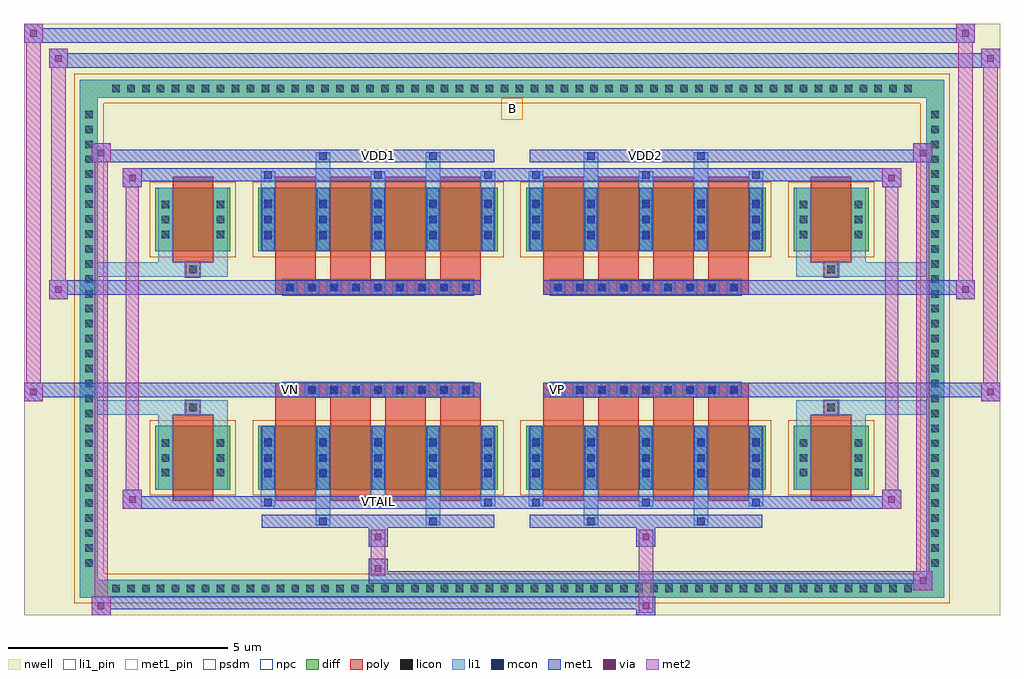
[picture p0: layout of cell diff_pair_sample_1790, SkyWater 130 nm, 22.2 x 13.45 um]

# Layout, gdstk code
import gdstk
lib = gdstk.Library(unit=1e-6, precision=5e-09)
def R(c, l, rs):  # rectangles x0, y0, x1, y1
    for r in rs: c.add(gdstk.rectangle(r[:2], r[2:], *l))
def A(c, l, x, y, w, h, nx, ny, dx, dy):  # array of equal rectangles
    R(c, l, [(x+i*dx, y+j*dy, x+i*dx+w, y+j*dy+h) for i in range(nx) for j in range(ny)])
def P(c, l, *ps):  # polygons
    for p in ps: c.add(gdstk.Polygon(p, *l))
nwell = (64, 20)
diff = (65, 20)
poly = (66, 20)
licon = (66, 44)
li1_pin = (67, 16)
li1 = (67, 20)
mcon = (67, 44)
met1_pin = (68, 16)
met1 = (68, 20)
via = (68, 44)
met2 = (69, 20)
psdm = (94, 20)
npc = (95, 20)

diff_pair_sample_1790 = lib.new_cell('diff_pair_sample_1790')
R(diff_pair_sample_1790, nwell, [(-11.1,-6.29,11.1,7.16), (-8.42,-4.48,-0.01,-0.8), (0.01,-4.48,8.42,-0.8), (-8.42,0.8,-0.01,4.48), (0.01,0.8,8.42,4.48)])
A(diff_pair_sample_1790, diff, -9.215, -5.89, 0.41, 0.41, 54, 2, 0.34, 11.37)
A(diff_pair_sample_1790, diff, -9.83, -5.305, 0.41, 0.41, 1, 31, 0, 0.34)
A(diff_pair_sample_1790, diff, 9.42, -5.305, 0.41, 0.41, 1, 31, 0, 0.34)
R(diff_pair_sample_1790, diff, [(-9.215,-5.89,9.215,-5.48), (-9.83,-5.305,-9.42,5.305), (9.42,-5.305,9.83,5.305), (-8.11,-3.435,-6.41,-1.985), (-5.77,-3.435,-0.32,-1.985), (0.32,-3.435,5.77,-1.985), (6.41,-3.435,8.11,-1.985), (-8.11,1.985,-6.41,3.435), (-5.77,1.985,-0.32,3.435), (0.32,1.985,5.77,3.435), (6.41,1.985,8.11,3.435), (-9.215,5.48,9.215,5.89)])
P(diff_pair_sample_1790, diff, [(9.83,5.89),(-9.83,5.89),(-9.83,-5.48),(-9.42,-5.48),(-9.42,5.48),(9.42,5.48),(9.42,-5.48),(-9.42,-5.48),(-9.83,-5.48),(-9.83,-5.89),(9.83,-5.89)])
A(diff_pair_sample_1790, poly, -5.38, -3.685, 0.92, 1.95, 4, 2, 1.25, 5.42)
A(diff_pair_sample_1790, poly, 0.71, -3.685, 0.92, 1.95, 4, 2, 1.25, 5.42)
A(diff_pair_sample_1790, poly, -5.38, -1.735, 0.92, 0.405, 4, 2, 1.25, 3.065)
A(diff_pair_sample_1790, poly, 0.71, -1.735, 0.92, 0.405, 4, 2, 1.25, 3.065)
A(diff_pair_sample_1790, poly, -5.21, -1.33, 0.33, 0.33, 9, 2, 0.5, 2.33)
A(diff_pair_sample_1790, poly, 0.88, -1.33, 0.33, 0.33, 9, 2, 0.5, 2.33)
R(diff_pair_sample_1790, poly, [(-7.72,-3.685,-6.8,-1.735), (6.8,-3.685,7.72,-1.735), (-7.425,-1.735,-7.095,-1.405), (-7.425,-1.735,-7.095,-1.405), (7.095,-1.735,7.425,-1.405), (7.095,-1.735,7.425,-1.405), (-5.38,-1.33,-0.71,-1), (0.71,-1.33,5.38,-1), (-5.38,1,-0.71,1.33), (0.71,1,5.38,1.33), (-7.425,1.405,-7.095,1.735), (-7.425,1.405,-7.095,1.735), (7.095,1.405,7.425,1.735), (7.095,1.405,7.425,1.735), (-7.72,1.735,-6.8,3.685), (6.8,1.735,7.72,3.685)])
A(diff_pair_sample_1790, licon, -9.095, -5.77, 0.17, 0.17, 54, 2, 0.34, 11.37)
A(diff_pair_sample_1790, licon, -9.71, -5.185, 0.17, 0.17, 1, 31, 0, 0.34)
A(diff_pair_sample_1790, licon, 9.54, -5.185, 0.17, 0.17, 1, 31, 0, 0.34)
A(diff_pair_sample_1790, licon, -7.97, -3.135, 0.17, 0.17, 1, 3, 0, 0.34)
A(diff_pair_sample_1790, licon, -6.72, -3.135, 0.17, 0.17, 1, 3, 0, 0.34)
A(diff_pair_sample_1790, licon, -5.63, -3.135, 0.17, 0.17, 5, 3, 1.25, 0.34)
A(diff_pair_sample_1790, licon, 0.46, -3.135, 0.17, 0.17, 5, 3, 1.25, 0.34)
A(diff_pair_sample_1790, licon, 6.55, -3.135, 0.17, 0.17, 1, 3, 0, 0.34)
A(diff_pair_sample_1790, licon, 7.8, -3.135, 0.17, 0.17, 1, 3, 0, 0.34)
A(diff_pair_sample_1790, licon, -5.13, -1.25, 0.17, 0.17, 9, 2, 0.5, 2.33)
A(diff_pair_sample_1790, licon, 0.96, -1.25, 0.17, 0.17, 9, 2, 0.5, 2.33)
A(diff_pair_sample_1790, licon, -7.97, 2.285, 0.17, 0.17, 1, 3, 0, 0.34)
A(diff_pair_sample_1790, licon, -6.72, 2.285, 0.17, 0.17, 1, 3, 0, 0.34)
A(diff_pair_sample_1790, licon, -5.63, 2.285, 0.17, 0.17, 5, 3, 1.25, 0.34)
A(diff_pair_sample_1790, licon, 0.46, 2.285, 0.17, 0.17, 5, 3, 1.25, 0.34)
A(diff_pair_sample_1790, licon, 6.55, 2.285, 0.17, 0.17, 1, 3, 0, 0.34)
A(diff_pair_sample_1790, licon, 7.8, 2.285, 0.17, 0.17, 1, 3, 0, 0.34)
R(diff_pair_sample_1790, licon, [(-7.345,-1.655,-7.175,-1.485), (7.175,-1.655,7.345,-1.485), (-7.345,1.485,-7.175,1.655), (7.175,1.485,7.345,1.655)])
R(diff_pair_sample_1790, li1_pin, [(-0.25,4.98,0.25,5.48)])
A(diff_pair_sample_1790, li1, -9.175, -5.85, 0.33, 0.33, 54, 2, 0.34, 11.37)
A(diff_pair_sample_1790, li1, -9.79, -5.265, 0.33, 0.33, 1, 31, 0, 0.34)
A(diff_pair_sample_1790, li1, 9.46, -5.265, 0.33, 0.33, 1, 31, 0, 0.34)
A(diff_pair_sample_1790, li1, -5.71, -3.81, 0.33, 0.375, 3, 2, 2.5, 7.245)
A(diff_pair_sample_1790, li1, -5.63, -3.81, 0.17, 0.17, 3, 2, 2.5, 7.45)
A(diff_pair_sample_1790, li1, 0.38, -3.81, 0.33, 0.375, 3, 2, 2.5, 7.245)
A(diff_pair_sample_1790, li1, 0.46, -3.81, 0.17, 0.17, 3, 2, 2.5, 7.45)
A(diff_pair_sample_1790, li1, -5.71, -3.435, 0.33, 1.45, 5, 2, 1.25, 5.42)
A(diff_pair_sample_1790, li1, 0.38, -3.435, 0.33, 1.45, 5, 2, 1.25, 5.42)
A(diff_pair_sample_1790, li1, -8.05, -3.215, 0.33, 0.33, 1, 3, 0, 0.34)
A(diff_pair_sample_1790, li1, -6.8, -3.215, 0.33, 0.33, 1, 3, 0, 0.34)
A(diff_pair_sample_1790, li1, -5.71, -3.215, 0.33, 0.33, 5, 3, 1.25, 0.34)
A(diff_pair_sample_1790, li1, 0.38, -3.215, 0.33, 0.33, 5, 3, 1.25, 0.34)
A(diff_pair_sample_1790, li1, 6.47, -3.215, 0.33, 0.33, 1, 3, 0, 0.34)
A(diff_pair_sample_1790, li1, 7.72, -3.215, 0.33, 0.33, 1, 3, 0, 0.34)
A(diff_pair_sample_1790, li1, -5.63, -3.155, 0.17, 0.17, 5, 3, 1.25, 0.36)
A(diff_pair_sample_1790, li1, -5.63, -3.155, 0.17, 0.89, 5, 2, 1.25, 5.42)
A(diff_pair_sample_1790, li1, 0.46, -3.155, 0.17, 0.17, 5, 3, 1.25, 0.36)
A(diff_pair_sample_1790, li1, 0.46, -3.155, 0.17, 0.89, 5, 2, 1.25, 5.42)
A(diff_pair_sample_1790, li1, -5.21, -1.33, 0.33, 0.33, 9, 2, 0.5, 2.33)
A(diff_pair_sample_1790, li1, 0.88, -1.33, 0.33, 0.33, 9, 2, 0.5, 2.33)
A(diff_pair_sample_1790, li1, -8.05, 2.205, 0.33, 0.33, 1, 3, 0, 0.34)
A(diff_pair_sample_1790, li1, -6.8, 2.205, 0.33, 0.33, 1, 3, 0, 0.34)
A(diff_pair_sample_1790, li1, -5.71, 2.205, 0.33, 0.33, 5, 3, 1.25, 0.34)
A(diff_pair_sample_1790, li1, 0.38, 2.205, 0.33, 0.33, 5, 3, 1.25, 0.34)
A(diff_pair_sample_1790, li1, 6.47, 2.205, 0.33, 0.33, 1, 3, 0, 0.34)
A(diff_pair_sample_1790, li1, 7.72, 2.205, 0.33, 0.33, 1, 3, 0, 0.34)
A(diff_pair_sample_1790, li1, -5.63, 2.265, 0.17, 0.17, 5, 3, 1.25, 0.36)
A(diff_pair_sample_1790, li1, 0.46, 2.265, 0.17, 0.17, 5, 3, 1.25, 0.36)
R(diff_pair_sample_1790, li1, [(-9.83,-5.89,-9.42,-5.48), (-9.83,-5.89,-9.42,-5.48), (-9.42,-5.89,9.42,-5.48), (9.42,-5.89,9.83,-5.48), (9.42,-5.89,9.83,-5.48), (-9.83,-5.48,-9.42,5.48), (9.42,-5.48,9.83,5.48), (-4.46,-4.24,-4.13,-3.435), (-4.38,-4.24,-4.21,-4.07), (-1.96,-4.24,-1.63,-3.435), (-1.88,-4.24,-1.71,-4.07), (1.63,-4.24,1.96,-3.435), (1.71,-4.24,1.88,-4.07), (4.13,-4.24,4.46,-3.435), (4.21,-4.24,4.38,-4.07), (-8.05,-3.435,-7.72,-1.985), (-6.8,-3.435,-6.47,-1.985), (6.47,-3.435,6.8,-1.985), (7.72,-3.435,8.05,-1.985), (-8.05,-1.985,-7.72,-1.405), (-6.8,-1.985,-6.47,-1.405), (6.47,-1.985,6.8,-1.405), (7.72,-1.985,8.05,-1.405), (-9.83,-1.735,-7.425,-1.405), (-8.05,-1.735,-7.425,-1.405), (-7.425,-1.735,-7.095,-1.405), (-7.095,-1.735,-6.47,-1.405), (6.47,-1.735,7.095,-1.405), (7.095,-1.735,7.425,-1.405), (7.095,-1.735,9.83,-1.405), (7.425,-1.735,8.05,-1.405), (-9.83,1.405,-7.425,1.735), (-8.05,1.405,-7.425,1.735), (-8.05,1.405,-7.72,1.985), (-7.425,1.405,-7.095,1.735), (-7.095,1.405,-6.47,1.735), (-6.8,1.405,-6.47,1.985), (6.47,1.405,7.095,1.735), (6.47,1.405,6.8,1.985), (7.095,1.405,7.425,1.735), (7.095,1.405,9.83,1.735), (7.425,1.405,8.05,1.735), (7.72,1.405,8.05,1.985), (-8.05,1.985,-7.72,3.435), (-6.8,1.985,-6.47,3.435), (6.47,1.985,6.8,3.435), (7.72,1.985,8.05,3.435), (-4.46,3.435,-4.13,4.24), (-1.96,3.435,-1.63,4.24), (1.63,3.435,1.96,4.24), (4.13,3.435,4.46,4.24), (-4.38,4.07,-4.21,4.24), (-1.88,4.07,-1.71,4.24), (1.71,4.07,1.88,4.24), (4.21,4.07,4.38,4.24), (-9.83,5.48,-9.42,5.89), (-9.83,5.48,-9.42,5.89), (-9.42,5.48,9.42,5.89), (9.42,5.48,9.83,5.89), (9.42,5.48,9.83,5.89)])
A(diff_pair_sample_1790, mcon, -5.63, -3.81, 0.17, 0.17, 3, 2, 2.5, 7.45)
A(diff_pair_sample_1790, mcon, 0.46, -3.81, 0.17, 0.17, 3, 2, 2.5, 7.45)
A(diff_pair_sample_1790, mcon, -5.63, -3.155, 0.17, 0.17, 5, 3, 1.25, 0.36)
A(diff_pair_sample_1790, mcon, 0.46, -3.155, 0.17, 0.17, 5, 3, 1.25, 0.36)
A(diff_pair_sample_1790, mcon, -5.13, -1.25, 0.17, 0.17, 9, 2, 0.5, 2.33)
A(diff_pair_sample_1790, mcon, 0.96, -1.25, 0.17, 0.17, 9, 2, 0.5, 2.33)
A(diff_pair_sample_1790, mcon, -5.63, 2.265, 0.17, 0.17, 5, 3, 1.25, 0.36)
A(diff_pair_sample_1790, mcon, 0.46, 2.265, 0.17, 0.17, 5, 3, 1.25, 0.36)
R(diff_pair_sample_1790, mcon, [(-4.38,-4.24,-4.21,-4.07), (-1.88,-4.24,-1.71,-4.07), (1.71,-4.24,1.88,-4.07), (4.21,-4.24,4.38,-4.07), (-4.38,4.07,-4.21,4.24), (-1.88,4.07,-1.71,4.24), (1.71,4.07,1.88,4.24), (4.21,4.07,4.38,4.24)])
R(diff_pair_sample_1790, met1_pin, [(-3.18,-3.85,-2.91,-3.58), (-5.18,-1.29,-4.91,-1.02), (0.91,-1.29,1.18,-1.02), (-3.18,4.03,-2.91,4.3), (2.91,4.03,3.18,4.3)])
A(diff_pair_sample_1790, met1, -5.69, -3.87, 0.29, 0.29, 3, 2, 2.5, 7.45)
A(diff_pair_sample_1790, met1, 0.4, -3.87, 0.29, 0.29, 3, 2, 2.5, 7.45)
A(diff_pair_sample_1790, met1, -5.69, -3.435, 0.29, 1.45, 5, 2, 1.25, 5.42)
A(diff_pair_sample_1790, met1, 0.4, -3.435, 0.29, 1.45, 5, 2, 1.25, 5.42)
A(diff_pair_sample_1790, met1, -5.69, -3.215, 0.29, 0.29, 5, 3, 1.25, 0.36)
A(diff_pair_sample_1790, met1, 0.4, -3.215, 0.29, 0.29, 5, 3, 1.25, 0.36)
A(diff_pair_sample_1790, met1, -5.19, -1.31, 0.29, 0.29, 9, 2, 0.5, 2.33)
A(diff_pair_sample_1790, met1, 0.9, -1.31, 0.29, 0.29, 9, 2, 0.5, 2.33)
A(diff_pair_sample_1790, met1, -5.69, 2.205, 0.29, 0.29, 5, 3, 1.25, 0.36)
A(diff_pair_sample_1790, met1, 0.4, 2.205, 0.29, 0.29, 5, 3, 1.25, 0.36)
R(diff_pair_sample_1790, met1, [(-9.56,-6.29,-9.13,-5.86), (2.83,-6.29,3.26,-5.86), (-9.56,-6.15,3.26,-5.86), (9.13,-5.72,9.56,-5.29), (-3.26,-5.58,9.56,-5.29), (-3.26,-5.44,-2.83,-5.01), (-3.26,-4.73,-2.83,-4.3), (2.83,-4.73,3.26,-4.3), (-5.69,-4.3,-0.4,-4.01), (-4.44,-4.3,-4.15,-4.01), (-1.94,-4.3,-1.65,-4.01), (0.4,-4.3,5.69,-4.01), (1.65,-4.3,1.94,-4.01), (4.15,-4.3,4.44,-4.01), (-8.85,-3.87,-8.42,-3.44), (-8.85,-3.87,-5.69,-3.58), (-5.69,-3.87,-0.4,-3.58), (-0.4,-3.87,0.4,-3.58), (0.4,-3.87,5.69,-3.58), (5.69,-3.87,8.85,-3.58), (8.42,-3.87,8.85,-3.44), (-11.1,-1.43,-10.67,-1), (10.67,-1.43,11.1,-1), (-11.1,-1.33,-0.71,-1), (-5.38,-1.33,-0.71,-1), (0.71,-1.33,5.38,-1), (0.71,-1.33,11.1,-1), (-10.53,0.9,-10.1,1.33), (10.1,0.9,10.53,1.33), (-10.53,1,-5.38,1.33), (-5.38,1,-0.71,1.33), (0.71,1,5.38,1.33), (5.38,1,10.53,1.33), (-8.85,3.44,-8.42,3.87), (8.42,3.44,8.85,3.87), (-8.85,3.58,-5.69,3.87), (-5.69,3.58,-0.4,3.87), (-0.4,3.58,0.4,3.87), (0.4,3.58,5.69,3.87), (5.69,3.58,8.85,3.87), (-9.56,4.01,-9.13,4.44), (-9.56,4.01,-5.69,4.3), (-5.69,4.01,-0.4,4.3), (-4.44,4.01,-4.15,4.3), (-1.94,4.01,-1.65,4.3), (0.4,4.01,5.69,4.3), (1.65,4.01,1.94,4.3), (4.15,4.01,4.44,4.3), (5.69,4.01,9.56,4.3), (9.13,4.01,9.56,4.44), (-10.53,6.16,-10.1,6.59), (-10.53,6.16,-8.42,6.49), (-8.42,6.16,8.42,6.49), (8.42,6.16,11.1,6.49), (10.67,6.16,11.1,6.59), (-11.1,6.73,-10.67,7.16), (-11.1,6.73,-8.42,7.06), (-8.42,6.73,8.42,7.06), (8.42,6.73,10.53,7.06), (10.1,6.73,10.53,7.16)])
R(diff_pair_sample_1790, via, [(-9.42,-6.15,-9.27,-6), (2.97,-6.15,3.12,-6), (9.27,-5.58,9.42,-5.43), (-3.12,-5.3,-2.97,-5.15), (-3.12,-4.59,-2.97,-4.44), (2.97,-4.59,3.12,-4.44), (-8.71,-3.73,-8.56,-3.58), (8.56,-3.73,8.71,-3.58), (-10.96,-1.29,-10.81,-1.14), (10.81,-1.29,10.96,-1.14), (-10.39,1.04,-10.24,1.19), (10.24,1.04,10.39,1.19), (-8.71,3.58,-8.56,3.73), (8.56,3.58,8.71,3.73), (-9.42,4.15,-9.27,4.3), (9.27,4.15,9.42,4.3), (-10.39,6.3,-10.24,6.45), (10.81,6.3,10.96,6.45), (-10.96,6.87,-10.81,7.02), (10.24,6.87,10.39,7.02)])
R(diff_pair_sample_1790, met2, [(-9.56,-6.29,-9.13,-5.86), (-9.49,-6.29,-9.2,4.44), (-9.2,-6.29,-9.13,-5.86), (-9.51,-6.24,-9.18,-5.91), (2.88,-6.24,3.21,-5.91), (2.88,-5.91,3.21,-4.68), (9.13,-5.72,9.56,-5.29), (9.2,-5.72,9.49,4.44), (9.49,-5.72,9.56,-5.29), (9.18,-5.67,9.51,-5.34), (-3.21,-5.39,-2.88,-5.06), (-3.21,-5.06,-2.88,-4.68), (-3.21,-4.68,-2.88,-4.35), (2.88,-4.68,3.21,-4.35), (-8.85,-3.87,-8.42,-3.44), (-8.78,-3.87,-8.49,3.87), (-8.49,-3.87,-8.42,-3.44), (8.42,-3.87,8.85,-3.44), (8.49,-3.87,8.78,3.87), (8.78,-3.87,8.85,-3.44), (-8.8,-3.82,-8.47,-3.49), (8.47,-3.82,8.8,-3.49), (-11.1,-1.43,-10.67,-1), (-11.05,-1.43,-10.72,7.16), (-10.72,-1.43,-10.67,-1), (10.67,-1.43,11.1,-1), (10.72,-1.43,11.05,6.59), (11.05,-1.43,11.1,-1), (-11.05,-1.38,-10.72,-1.05), (10.72,-1.38,11.05,-1.05), (-10.53,0.9,-10.1,1.33), (-10.48,0.9,-10.15,6.59), (-10.15,0.9,-10.1,1.33), (10.1,0.9,10.53,1.33), (10.15,0.9,10.48,7.16), (10.48,0.9,10.53,1.33), (-10.48,0.95,-10.15,1.28), (10.15,0.95,10.48,1.28), (-8.85,3.44,-8.42,3.87), (-8.49,3.44,-8.42,3.87), (8.42,3.44,8.85,3.87), (8.78,3.44,8.85,3.87), (-8.8,3.49,-8.47,3.82), (8.47,3.49,8.8,3.82), (-9.56,4.01,-9.13,4.44), (-9.2,4.01,-9.13,4.44), (9.13,4.01,9.56,4.44), (9.49,4.01,9.56,4.44), (-9.51,4.06,-9.18,4.39), (9.18,4.06,9.51,4.39), (-10.53,6.16,-10.1,6.59), (-10.15,6.16,-10.1,6.59), (10.67,6.16,11.1,6.59), (11.05,6.16,11.1,6.59), (-10.48,6.21,-10.15,6.54), (10.72,6.21,11.05,6.54), (-11.1,6.73,-10.67,7.16), (-10.72,6.73,-10.67,7.16), (10.1,6.73,10.53,7.16), (10.48,6.73,10.53,7.16), (-11.05,6.78,-10.72,7.11), (10.15,6.78,10.48,7.11)])
R(diff_pair_sample_1790, psdm, [(-8.24,-3.565,-6.28,-1.855), (-5.9,-3.565,-0.19,-1.855), (0.19,-3.565,5.9,-1.855), (6.28,-3.565,8.24,-1.855), (-8.24,1.855,-6.28,3.565), (-5.9,1.855,-0.19,3.565), (0.19,1.855,5.9,3.565), (6.28,1.855,8.24,3.565)])
P(diff_pair_sample_1790, psdm, [(9.96,6.02),(-9.96,6.02),(-9.96,-5.35),(-9.29,-5.35),(-9.29,5.35),(9.29,5.35),(9.29,-5.35),(-9.29,-5.35),(-9.96,-5.35),(-9.96,-6.02),(9.96,-6.02)])
A(diff_pair_sample_1790, npc, -5.23, -1.35, 0.37, 0.37, 9, 2, 0.5, 2.33)
A(diff_pair_sample_1790, npc, 0.86, -1.35, 0.37, 0.37, 9, 2, 0.5, 2.33)
R(diff_pair_sample_1790, npc, [(-7.445,-1.755,-7.075,-1.385), (7.075,-1.755,7.445,-1.385), (-5.23,-1.35,-4.36,-0.98), (-5.23,-1.35,-4.36,-0.98), (-4.73,-1.35,-3.86,-0.98), (-4.73,-1.35,-3.86,-0.98), (-4.23,-1.35,-3.36,-0.98), (-4.23,-1.35,-3.36,-0.98), (-3.73,-1.35,-2.86,-0.98), (-3.73,-1.35,-2.86,-0.98), (-3.23,-1.35,-2.36,-0.98), (-3.23,-1.35,-2.36,-0.98), (-2.73,-1.35,-1.86,-0.98), (-2.73,-1.35,-1.86,-0.98), (-2.23,-1.35,-1.36,-0.98), (-2.23,-1.35,-1.36,-0.98), (-1.73,-1.35,-0.86,-0.98), (-1.73,-1.35,-0.86,-0.98), (0.86,-1.35,1.73,-0.98), (0.86,-1.35,1.73,-0.98), (1.36,-1.35,2.23,-0.98), (1.36,-1.35,2.23,-0.98), (1.86,-1.35,2.73,-0.98), (1.86,-1.35,2.73,-0.98), (2.36,-1.35,3.23,-0.98), (2.36,-1.35,3.23,-0.98), (2.86,-1.35,3.73,-0.98), (2.86,-1.35,3.73,-0.98), (3.36,-1.35,4.23,-0.98), (3.36,-1.35,4.23,-0.98), (3.86,-1.35,4.73,-0.98), (3.86,-1.35,4.73,-0.98), (4.36,-1.35,5.23,-0.98), (4.36,-1.35,5.23,-0.98), (-5.23,0.98,-4.36,1.35), (-5.23,0.98,-4.36,1.35), (-4.73,0.98,-3.86,1.35), (-4.73,0.98,-3.86,1.35), (-4.23,0.98,-3.36,1.35), (-4.23,0.98,-3.36,1.35), (-3.73,0.98,-2.86,1.35), (-3.73,0.98,-2.86,1.35), (-3.23,0.98,-2.36,1.35), (-3.23,0.98,-2.36,1.35), (-2.73,0.98,-1.86,1.35), (-2.73,0.98,-1.86,1.35), (-2.23,0.98,-1.36,1.35), (-2.23,0.98,-1.36,1.35), (-1.73,0.98,-0.86,1.35), (-1.73,0.98,-0.86,1.35), (0.86,0.98,1.73,1.35), (0.86,0.98,1.73,1.35), (1.36,0.98,2.23,1.35), (1.36,0.98,2.23,1.35), (1.86,0.98,2.73,1.35), (1.86,0.98,2.73,1.35), (2.36,0.98,3.23,1.35), (2.36,0.98,3.23,1.35), (2.86,0.98,3.73,1.35), (2.86,0.98,3.73,1.35), (3.36,0.98,4.23,1.35), (3.36,0.98,4.23,1.35), (3.86,0.98,4.73,1.35), (3.86,0.98,4.73,1.35), (4.36,0.98,5.23,1.35), (4.36,0.98,5.23,1.35), (-7.445,1.385,-7.075,1.755), (7.075,1.385,7.445,1.755)])
diff_pair_sample_1790.add(gdstk.Label('VTAIL', (-3.045,-3.715), layer=68, texttype=5))
diff_pair_sample_1790.add(gdstk.Label('VN', (-5.045,-1.155), layer=68, texttype=5))
diff_pair_sample_1790.add(gdstk.Label('VP', (1.045,-1.155), layer=68, texttype=5))
diff_pair_sample_1790.add(gdstk.Label('B', (0,5.23), layer=67, texttype=5))
diff_pair_sample_1790.add(gdstk.Label('VDD2', (3.045,4.165), layer=68, texttype=5))
diff_pair_sample_1790.add(gdstk.Label('VDD1', (-3.045,4.165), layer=68, texttype=5))

lib.write_gds('diff_pair_sample_1790.gds')
